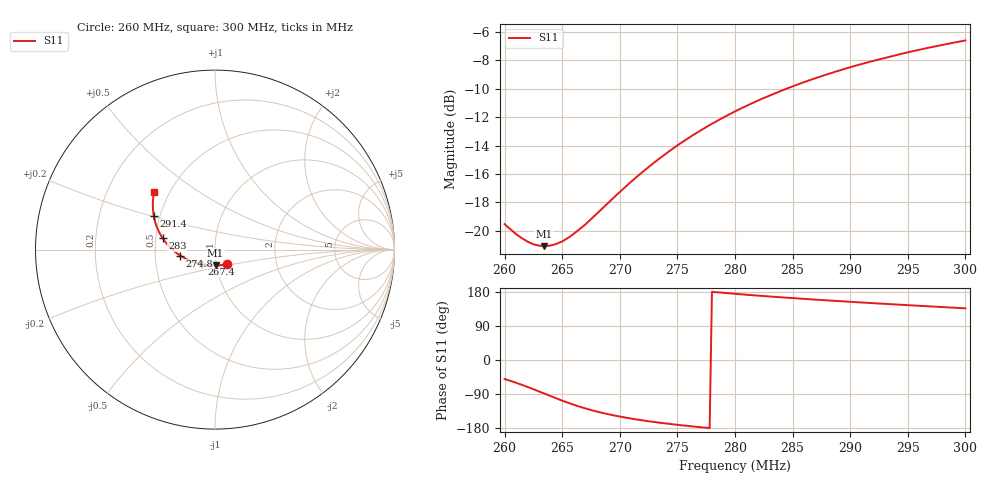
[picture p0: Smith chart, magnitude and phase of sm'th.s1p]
! COPPER MOUNTAIN TECHNOLOGIES, TR5048, 14027131, 0.7.17/2.0
! Date: 1.11.2025 09:54:42
! Data: Format [Calibration Info]
! Freq  S11: Re/Im F1
# HZ S RI R 50
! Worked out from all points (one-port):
!   201 points, 260 MHz to 300 MHz, reference 50 ohm
!   lowest |S11| = -21.1 dB at 263.4 MHz (marker M1), VSWR 1.19, Z = 49.5 - j8.8 ohm
!   |S11| at or under -10 dB: start of sweep to 284.5 MHz
!   S11 on the Smith chart (normalised r, x): 260 MHz: 1.13, -0.19; 267.4 MHz: 0.86, -0.14; 274.8 MHz: 0.67, -0.05; 283 MHz: 0.54, +0.08; 291.4 MHz: 0.46, +0.21; 300 MHz: 0.41, +0.34
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2.6e8  0.0675 -0.0811
2.61e8  0.0485 -0.0844
2.62e8  0.0295 -0.0867
2.626e8  0.018 -0.0876
2.634e8  0.00295 -0.0882
2.638e8  -0.00467 -0.0883
2.642e8  -0.0122 -0.0884
2.65e8  -0.0272 -0.0876
2.656e8  -0.0384 -0.0868
2.662e8  -0.0496 -0.0856
2.674e8  -0.0716 -0.0821
2.7e8  -0.1177 -0.0699
2.71e8  -0.1348 -0.0638
2.724e8  -0.1576 -0.0536
2.748e8  -0.1944 -0.033
2.75e8  -0.1974 -0.0311
2.762e8  -0.2144 -0.019
2.776e8  -0.233 -0.00394
2.8e8  -0.2619 0.0247
2.818e8  -0.281 0.048
2.83e8  -0.2923 0.0643
2.85e8  -0.3087 0.0926
2.876e8  -0.326 0.1308
2.9e8  -0.3372 0.1675
2.914e8  -0.3417 0.1892
2.95e8  -0.3466 0.2454
2.976e8  -0.3446 0.2859
3e8  -0.3385 0.3228
